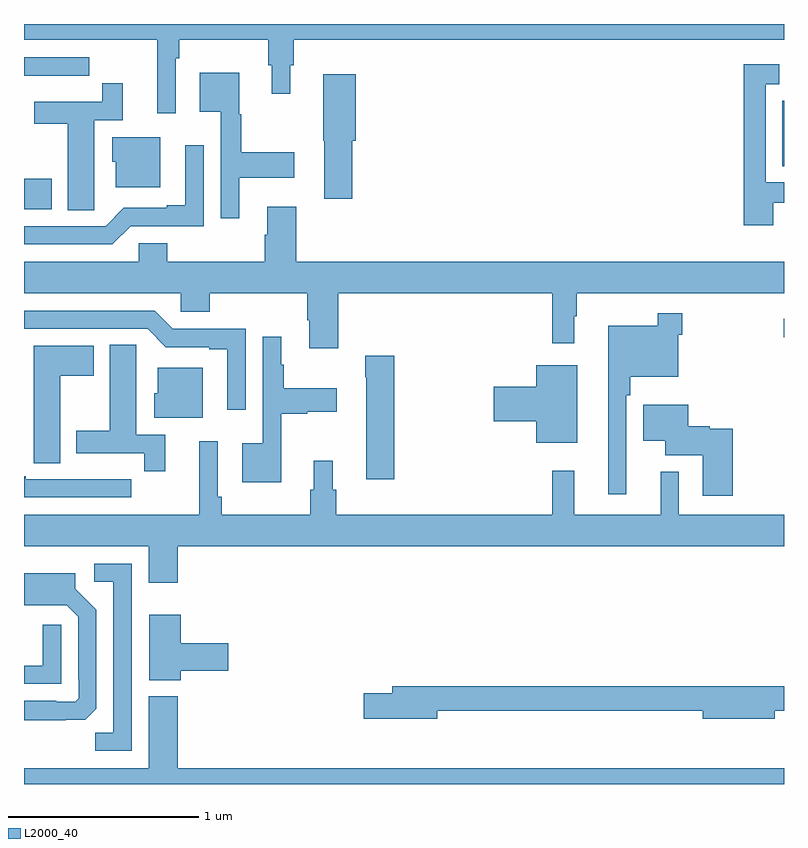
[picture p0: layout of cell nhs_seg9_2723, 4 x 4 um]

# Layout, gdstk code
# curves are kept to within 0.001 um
import gdstk
lib = gdstk.Library(unit=1e-6, precision=1e-09)
def R(c, l, rs):  # rectangles x0, y0, x1, y1
    for r in rs: c.add(gdstk.rectangle(r[:2], r[2:], *l))
def P(c, l, *ps):  # polygons
    for p in ps: c.add(gdstk.Polygon(p, *l))
L2000_40 = (2000, 40)

nhs_seg9_2723 = lib.new_cell('nhs_seg9_2723')
R(nhs_seg9_2723, L2000_40, [(270.999,1198.851,271,1198.948), (267,1199.525,267.145,1199.685), (270.992,1199.752,271,1200.096)])
P(nhs_seg9_2723, L2000_40, [(267.798,1200.32),(267.818,1200.32),(267.818,1200.416),(268.285,1200.416),(268.285,1200.282),(268.304,1200.282),(268.304,1200.132),(268.402,1200.132),(268.402,1200.282),(268.421,1200.282),(268.421,1200.416),(271,1200.416),(271,1200.5),(267,1200.5),(267,1200.416),(267.701,1200.416),(267.701,1200.03),(267.798,1200.03)],
  [(267.23,1200.228),(267.343,1200.228),(267.343,1200.324),(267,1200.324),(267,1200.228),(267.064,1200.228),(267.064,1200.227),(267.23,1200.227)],
  [(270.943,1199.559),(271,1199.559),(271,1199.667),(270.903,1199.667),(270.903,1200.183),(270.976,1200.183),(270.976,1200.289),(270.787,1200.289),(270.787,1199.442),(270.943,1199.442)],
  [(268.132,1199.69),(268.423,1199.69),(268.423,1199.825),(268.144,1199.825),(268.144,1200.024),(268.132,1200.024),(268.132,1200.244),(267.926,1200.244),(267.926,1200.038),(268.035,1200.038),(268.035,1199.478),(268.132,1199.478)],
  [(268.727,1199.886),(268.745,1199.886),(268.745,1200.235),(268.574,1200.235),(268.574,1199.886),(268.58,1199.886),(268.58,1199.58),(268.727,1199.58)],
  [(267.369,1199.632),(267.37,1199.632),(267.37,1199.994),(267.521,1199.994),(267.521,1200.187),(267.412,1200.187),(267.412,1200.09),(267.053,1200.09),(267.053,1199.974),(267.23,1199.974),(267.23,1199.521),(267.369,1199.521)],
  [(267.718,1199.905),(267.464,1199.905),(267.464,1199.775),(267.482,1199.775),(267.482,1199.642),(267.718,1199.642)],
  [(267.561,1199.436),(267.945,1199.436),(267.945,1199.863),(267.848,1199.863),(267.848,1199.545),(267.752,1199.545),(267.752,1199.532),(267.525,1199.532),(267.429,1199.436),(267,1199.436),(267,1199.34),(267.465,1199.34)],
  [(268.655,1199.084),(269.779,1199.084),(269.779,1198.821),(269.896,1198.821),(269.896,1198.961),(269.908,1198.961),(269.908,1199.084),(271,1199.084),(271,1199.248),(268.433,1199.248),(268.433,1199.539),(268.28,1199.539),(268.28,1199.39),(268.268,1199.39),(268.268,1199.248),(267.755,1199.248),(267.755,1199.346),(267.603,1199.346),(267.603,1199.248),(267,1199.248),(267,1199.084),(267.825,1199.084),(267.825,1198.986),(267.977,1198.986),(267.977,1199.084),(268.49,1199.084),(268.49,1198.942),(268.502,1198.942),(268.502,1198.794),(268.655,1198.794)],
  [(268.167,1198.896),(267.783,1198.896),(267.687,1198.992),(267,1198.992),(267,1198.896),(267.651,1198.896),(267.747,1198.8),(267.974,1198.8),(267.974,1198.788),(268.07,1198.788),(268.07,1198.47),(268.167,1198.47)],
  [(270.171,1198.547),(270.191,1198.547),(270.191,1198.643),(270.444,1198.643),(270.444,1198.865),(270.464,1198.865),(270.464,1198.978),(270.336,1198.978),(270.336,1198.912),(270.074,1198.912),(270.074,1198.026),(270.171,1198.026)],
  [(268.354,1198.448),(268.491,1198.448),(268.491,1198.46),(268.645,1198.46),(268.645,1198.582),(268.366,1198.582),(268.366,1198.706),(268.354,1198.706),(268.354,1198.855),(268.257,1198.855),(268.257,1198.294),(268.148,1198.294),(268.148,1198.088),(268.354,1198.088)],
  [(267.743,1198.338),(267.592,1198.338),(267.592,1198.7),(267.591,1198.7),(267.591,1198.811),(267.452,1198.811),(267.452,1198.359),(267.275,1198.359),(267.275,1198.242),(267.634,1198.242),(267.634,1198.146),(267.743,1198.146)],
  [(267.19,1198.648),(267.367,1198.648),(267.367,1198.807),(267.05,1198.807),(267.05,1198.297),(267.051,1198.297),(267.051,1198.189),(267.19,1198.189)],
  [(268.949,1198.753),(268.795,1198.753),(268.795,1198.64),(268.802,1198.64),(268.802,1198.104),(268.949,1198.104)],
  [(269.911,1198.705),(269.696,1198.705),(269.696,1198.592),(269.472,1198.592),(269.472,1198.409),(269.696,1198.409),(269.696,1198.295),(269.911,1198.295)],
  [(267.94,1198.69),(267.704,1198.69),(267.704,1198.557),(267.686,1198.557),(267.686,1198.427),(267.94,1198.427)],
  [(270.73,1198.369),(270.609,1198.369),(270.609,1198.382),(270.496,1198.382),(270.496,1198.495),(270.26,1198.495),(270.26,1198.307),(270.374,1198.307),(270.374,1198.229),(270.572,1198.229),(270.572,1198.017),(270.73,1198.017)],
  [(267.809,1197.752),(271,1197.752),(271,1197.916),(270.447,1197.916),(270.447,1198.144),(270.35,1198.144),(270.35,1197.916),(269.897,1197.916),(269.897,1198.15),(269.779,1198.15),(269.779,1197.916),(268.643,1197.916),(268.643,1198.05),(268.624,1198.05),(268.624,1198.201),(268.526,1198.201),(268.526,1198.05),(268.507,1198.05),(268.507,1197.916),(268.04,1197.916),(268.04,1198.012),(268.02,1198.012),(268.02,1198.303),(267.923,1198.303),(267.923,1197.916),(267,1197.916),(267,1197.752),(267.656,1197.752),(267.656,1197.558),(267.809,1197.558)],
  [(267.565,1198.104),(267.452,1198.104),(267.452,1198.105),(267.286,1198.105),(267.286,1198.104),(267.01,1198.104),(267.01,1198.119),(267,1198.119),(267,1198.008),(267.565,1198.008)],
  [(267.567,1197.66),(267.369,1197.66),(267.369,1197.564),(267.471,1197.564),(267.471,1196.771),(267.376,1196.771),(267.376,1196.676),(267.567,1196.676)],
  [(267.221,1196.837),(267.322,1196.837),(267.381,1196.896),(267.381,1197.418),(267.271,1197.528),(267.271,1197.61),(267,1197.61),(267,1197.44),(267.225,1197.441),(267.285,1197.381),(267.285,1197.052),(267.288,1197.052),(267.288,1196.952),(267.27,1196.934),(267.17,1196.934),(267.17,1196.937),(267,1196.937),(267,1196.836)],
  [(267.826,1197.095),(268.075,1197.095),(268.075,1197.242),(267.826,1197.242),(267.826,1197.391),(267.659,1197.391),(267.659,1197.047),(267.826,1197.047)],
  [(267.195,1197.337),(267.099,1197.337),(267.099,1197.123),(267,1197.123),(267,1197.027),(267.195,1197.027)],
  [(269.176,1196.886),(270.572,1196.886),(270.572,1196.843),(270.952,1196.843),(270.952,1196.886),(271,1196.886),(271,1197.014),(268.937,1197.014),(268.937,1196.978),(268.788,1196.978),(268.788,1196.843),(269.176,1196.843)],
  [(271,1196.584),(267.809,1196.584),(267.809,1196.962),(267.656,1196.962),(267.656,1196.584),(267,1196.584),(267,1196.5),(271,1196.5)])

lib.write_gds('nhs_seg9_2723.gds')
